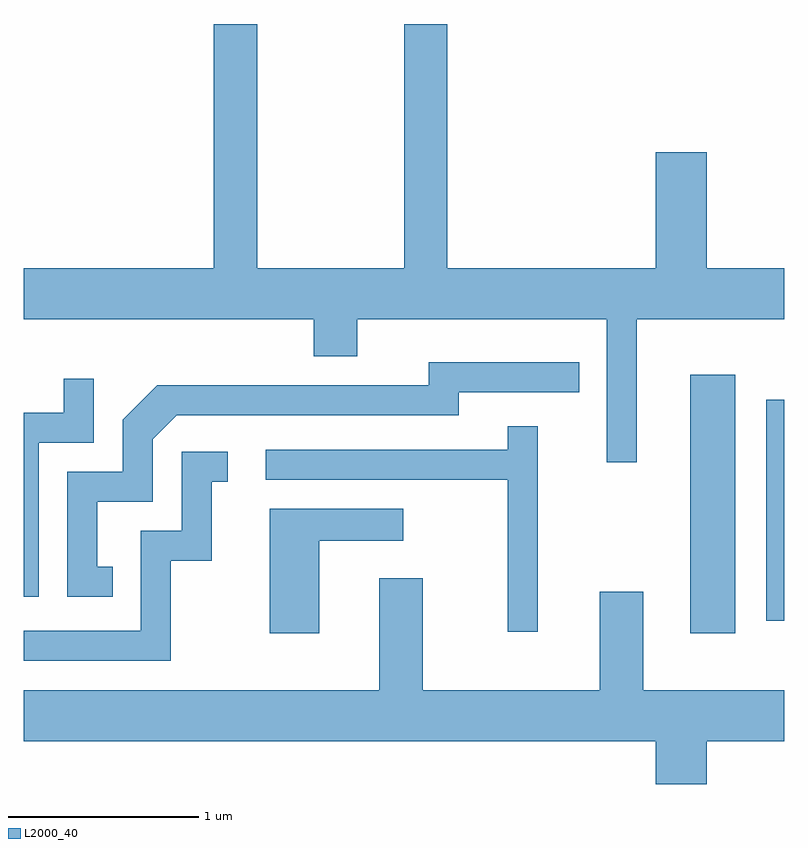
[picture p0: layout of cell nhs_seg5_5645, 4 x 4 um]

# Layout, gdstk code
import gdstk
lib = gdstk.Library(unit=1e-6, precision=1e-09)
def R(c, l, rs):  # rectangles x0, y0, x1, y1
    for r in rs: c.add(gdstk.rectangle(r[:2], r[2:], *l))
def P(c, l, *ps):  # polygons
    for p in ps: c.add(gdstk.Polygon(p, *l))
L2000_40 = (2000, 40)

nhs_seg5_5645 = lib.new_cell('nhs_seg5_5645')
R(nhs_seg5_5645, L2000_40, [(355.116,1512.866,355.354,1514.224), (355.516,1512.931,355.611,1514.094)])
P(nhs_seg5_5645, L2000_40, [(354.834,1514.516),(355.611,1514.516),(355.611,1514.784),(355.204,1514.784),(355.204,1515.394),(354.936,1515.394),(354.936,1514.784),(353.839,1514.784),(353.839,1516.069),(353.611,1516.069),(353.611,1514.784),(352.839,1514.784),(352.839,1516.069),(352.611,1516.069),(352.611,1514.784),(351.611,1514.784),(351.611,1514.516),(353.136,1514.516),(353.136,1514.321),(353.364,1514.321),(353.364,1514.516),(354.676,1514.516),(354.676,1513.763),(354.834,1513.763)],
  [(352.078,1513.214),(351.999,1513.214),(351.999,1513.556),(352.289,1513.556),(352.289,1513.884),(352.417,1514.011),(353.899,1514.011),(353.899,1514.131),(354.533,1514.131),(354.533,1514.289),(353.741,1514.289),(353.741,1514.169),(352.314,1514.169),(352.131,1513.987),(352.131,1513.714),(351.841,1513.714),(351.841,1513.056),(352.078,1513.056)],
  [(351.689,1513.866),(351.979,1513.866),(351.979,1514.203),(351.821,1514.203),(351.821,1514.024),(351.611,1514.024),(351.611,1513.056),(351.689,1513.056)],
  [(354.314,1513.953),(354.156,1513.953),(354.156,1513.829),(352.883,1513.829),(352.883,1513.671),(354.156,1513.671),(354.156,1512.873),(354.314,1512.873)],
  [(352.384,1513.246),(352.599,1513.246),(352.599,1513.661),(352.683,1513.661),(352.683,1513.819),(352.441,1513.819),(352.441,1513.404),(352.226,1513.404),(352.226,1512.879),(351.611,1512.879),(351.611,1512.721),(352.384,1512.721)],
  [(353.164,1513.351),(353.608,1513.351),(353.608,1513.519),(352.906,1513.519),(352.906,1512.866),(353.164,1512.866)],
  [(355.204,1512.296),(355.611,1512.296),(355.611,1512.564),(354.869,1512.564),(354.869,1513.084),(354.641,1513.084),(354.641,1512.564),(353.709,1512.564),(353.709,1513.154),(353.481,1513.154),(353.481,1512.564),(351.611,1512.564),(351.611,1512.296),(354.936,1512.296),(354.936,1512.072),(355.204,1512.072)])

lib.write_gds('nhs_seg5_5645.gds')
